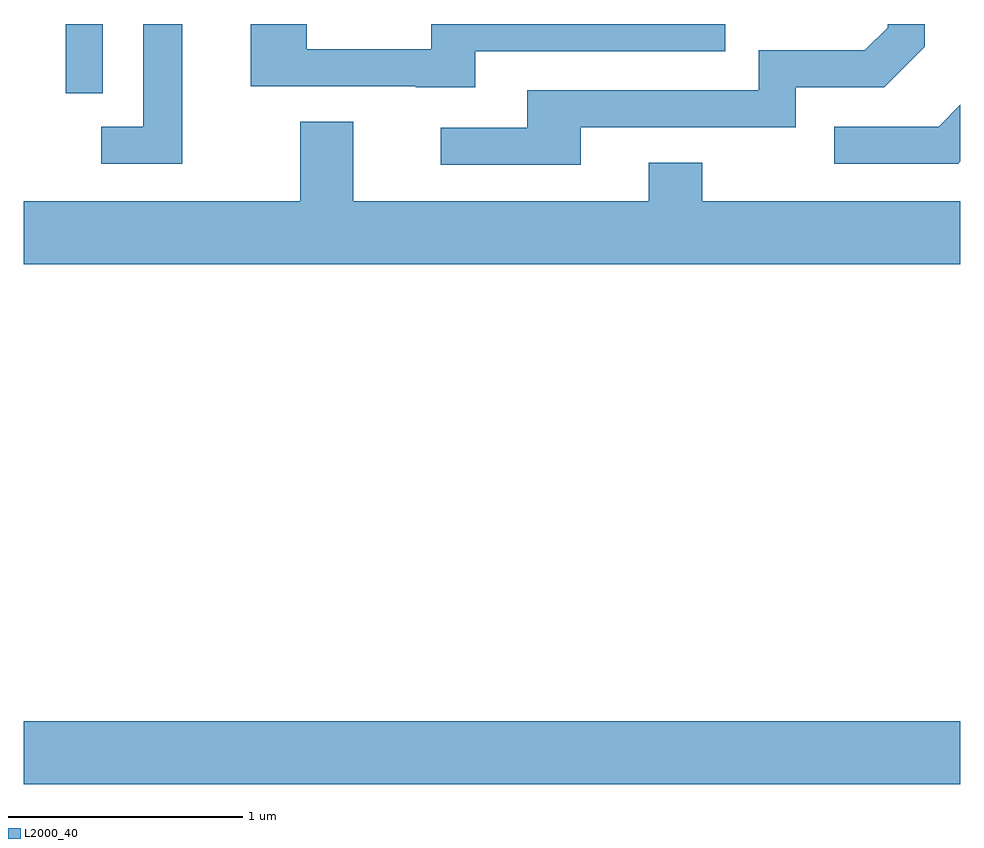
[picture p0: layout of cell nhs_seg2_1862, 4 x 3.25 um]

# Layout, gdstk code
import gdstk
lib = gdstk.Library(unit=1e-6, precision=1e-09)
def R(c, l, rs):  # rectangles x0, y0, x1, y1
    for r in rs: c.add(gdstk.rectangle(r[:2], r[2:], *l))
def P(c, l, *ps):  # polygons
    for p in ps: c.add(gdstk.Polygon(p, *l))
L2000_40 = (2000, 40)

nhs_seg2_1862 = lib.new_cell('nhs_seg2_1862')
R(nhs_seg2_1862, L2000_40, [(239.611,1030.556,243.611,1030.824), (239.791,1033.507,239.949,1033.802)])
P(nhs_seg2_1862, L2000_40, [(241.989,1033.361),(242.909,1033.361),(242.909,1033.531),(243.287,1033.531),(243.459,1033.704),(243.459,1033.802),(243.301,1033.802),(243.301,1033.786),(243.204,1033.689),(242.751,1033.689),(242.751,1033.519),(241.761,1033.519),(241.761,1033.359),(241.393,1033.359),(241.393,1033.201),(241.989,1033.201)],
  [(240.289,1033.802),(240.121,1033.802),(240.121,1033.364),(239.943,1033.364),(239.943,1033.206),(240.289,1033.206)],
  [(241.539,1033.686),(242.608,1033.686),(242.608,1033.802),(241.351,1033.802),(241.351,1033.694),(240.819,1033.694),(240.819,1033.802),(240.581,1033.802),(240.581,1033.536),(241.285,1033.536),(241.285,1033.531),(241.539,1033.531)],
  [(243.611,1033.215),(243.611,1033.457),(243.519,1033.364),(243.073,1033.364),(243.073,1033.206),(243.602,1033.206)],
  [(243.611,1033.044),(242.509,1033.044),(242.509,1033.209),(242.281,1033.209),(242.281,1033.044),(241.019,1033.044),(241.019,1033.384),(240.791,1033.384),(240.791,1033.044),(239.611,1033.044),(239.611,1032.776),(243.611,1032.776)])

lib.write_gds('nhs_seg2_1862.gds')
